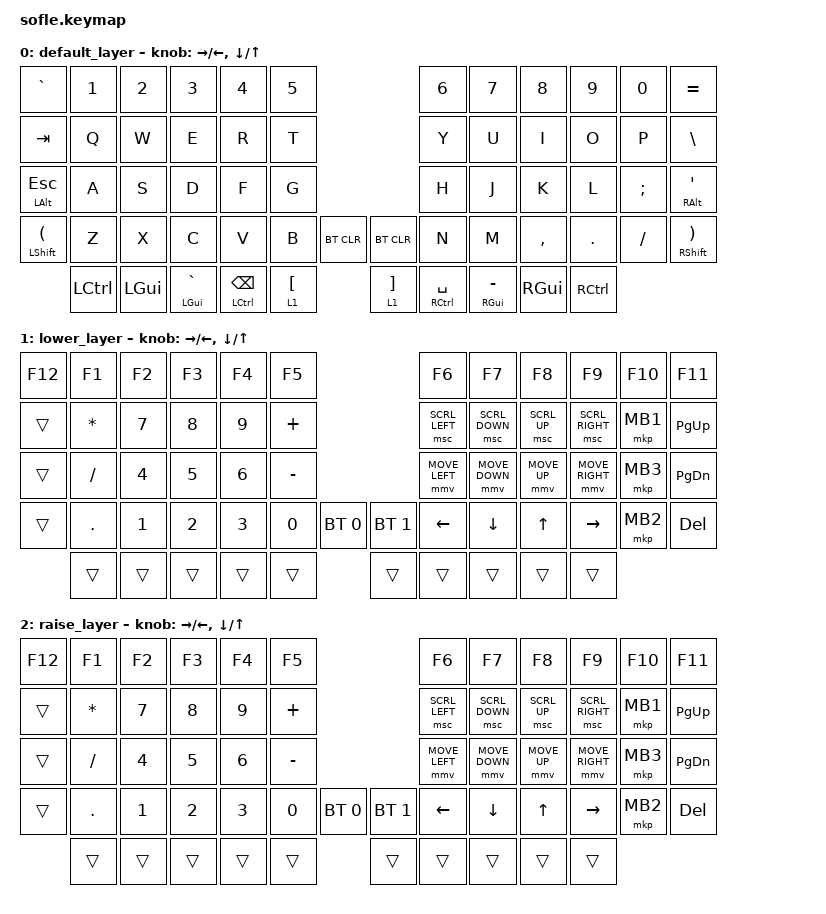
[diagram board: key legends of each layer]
/*
 * Copyright (c) 2020 The ZMK Contributors
 *
 * SPDX-License-Identifier: MIT
 */
#define ZMK_POINTING_DEFAULT_MOVE_VAL 1000  // default: 600
#define ZMK_POINTING_DEFAULT_SCRL_VAL 16    // default: 10

#include <behaviors.dtsi>
#include <dt-bindings/zmk/keys.h>
#include <dt-bindings/zmk/bt.h>
#include <dt-bindings/zmk/ext_power.h>
#include <dt-bindings/zmk/pointing.h>

&mt {
    tapping-term-ms = <180>;
    flavor = "hold-preferred";
    quick-tap-ms = <260>;
    require-prior-idle-ms = <160>;
};

&lt {
    tapping-term-ms = <180>;
    flavor = "hold-preferred";
    quick-tap-ms = <260>;
    require-prior-idle-ms = <160>;
};

&caps_word {
    continue-list = <UNDERSCORE MINUS>;
};

/ {
    combos {
        compatible = "zmk,combos";
        combo_enter {
            timeout-ms = <30>;
            key-positions = <31 32>; // jk -> enter
            bindings = <&kp RET>;
        };
        combo_up {
            timeout-ms = <30>;
            key-positions = <19 20>; // ui -> up
            bindings = <&kp UP>;
        };
        combo_down {
            timeout-ms = <30>;
            key-positions = <45 46>; // m, -> down
            bindings = <&kp DOWN>;
        };
        combo_pg_up {
            timeout-ms = <30>;
            key-positions = <15 16>; // er -> left
            bindings = <&kp LEFT>;
        };
        combo_pg_down {
            timeout-ms = <30>;
            key-positions = <39 40>; // cv -> right
            bindings = <&kp RIGHT>;
        };
        combo_capsword {
            timeout-ms = <30>;
            key-positions = <36 49>; // lshift rshift
            bindings = <&caps_word>;
        };
        combo_capsword_df {
            timeout-ms = <30>;
            key-positions = <27 28>; // df -> cap words
            bindings = <&caps_word>;
        };
    };
};

/ {
    keymap {
        compatible = "zmk,keymap";

        default_layer {
            bindings = <
&kp GRAVE       &kp N1 &kp N2   &kp N3   &kp N4    &kp N5                              &kp N6          &kp N7    &kp N8    &kp N9   &kp N0   &kp EQUAL
&kp TAB         &kp Q  &kp W    &kp E    &kp R     &kp T                               &kp Y           &kp U     &kp I     &kp O    &kp P    &kp BSLH
&mt LALT ESC    &kp A  &kp S    &kp D    &kp F     &kp G                               &kp H           &kp J     &kp K     &kp L    &kp SEMI &mt RALT SQT
&mt LSHFT LPAR  &kp Z  &kp X    &kp C    &kp V     &kp B  &bt BT_CLR        &bt BT_CLR &kp N           &kp M     &kp COMMA &kp DOT  &kp FSLH &mt RSHFT RPAR
         &kp LCTRL &kp LGUI &mt LGUI GRAVE &mt LCTRL BSPC &lt 1 LBKT        &lt 1 RBKT &mt RCTRL SPACE &mt RGUI MINUS &kp RGUI &kp RCTRL
            >;

            sensor-bindings = <&inc_dec_kp RIGHT LEFT &inc_dec_kp DOWN UP>;
        };

        lower_layer {
            bindings = <
&kp F12      &kp F1    &kp F2   &kp F3   &kp F4   &kp F5                               &kp F6         &kp F7         &kp F8       &kp F9          &kp F10   &kp F11
&trans       &kp STAR  &kp N7   &kp N8   &kp N9   &kp PLUS                             &msc SCRL_LEFT &msc SCRL_DOWN &msc SCRL_UP &msc SCRL_RIGHT &mkp MB1  &kp PG_UP
&trans       &kp FSLH  &kp N4   &kp N5   &kp N6   &kp MINUS                            &mmv MOVE_LEFT &mmv MOVE_DOWN &mmv MOVE_UP &mmv MOVE_RIGHT &mkp MB3  &kp PG_DN
&trans       &kp DOT   &kp N1   &kp N2   &kp N3   &kp N0  &bt BT_SEL 0   &bt BT_SEL 1  &kp LEFT       &kp DOWN       &kp UP       &kp RIGHT       &mkp MB2  &kp DEL
                      &trans    &trans   &trans   &trans  &trans         &trans        &trans    &trans   &trans    &trans
            >;

            sensor-bindings = <&inc_dec_kp RIGHT LEFT &inc_dec_kp DOWN UP>;
        };

        raise_layer {
            bindings = <
&kp F12      &kp F1    &kp F2   &kp F3   &kp F4   &kp F5                               &kp F6         &kp F7         &kp F8       &kp F9          &kp F10   &kp F11
&trans       &kp STAR  &kp N7   &kp N8   &kp N9   &kp PLUS                             &msc SCRL_LEFT &msc SCRL_DOWN &msc SCRL_UP &msc SCRL_RIGHT &mkp MB1  &kp PG_UP
&trans       &kp FSLH  &kp N4   &kp N5   &kp N6   &kp MINUS                            &mmv MOVE_LEFT &mmv MOVE_DOWN &mmv MOVE_UP &mmv MOVE_RIGHT &mkp MB3  &kp PG_DN
&trans       &kp DOT   &kp N1   &kp N2   &kp N3   &kp N0  &bt BT_SEL 0   &bt BT_SEL 1  &kp LEFT       &kp DOWN       &kp UP       &kp RIGHT       &mkp MB2  &kp DEL
                      &trans    &trans   &trans   &trans  &trans         &trans        &trans    &trans   &trans    &trans
            >;

            sensor-bindings = <&inc_dec_kp RIGHT LEFT &inc_dec_kp DOWN UP>;
        };
    };
};
